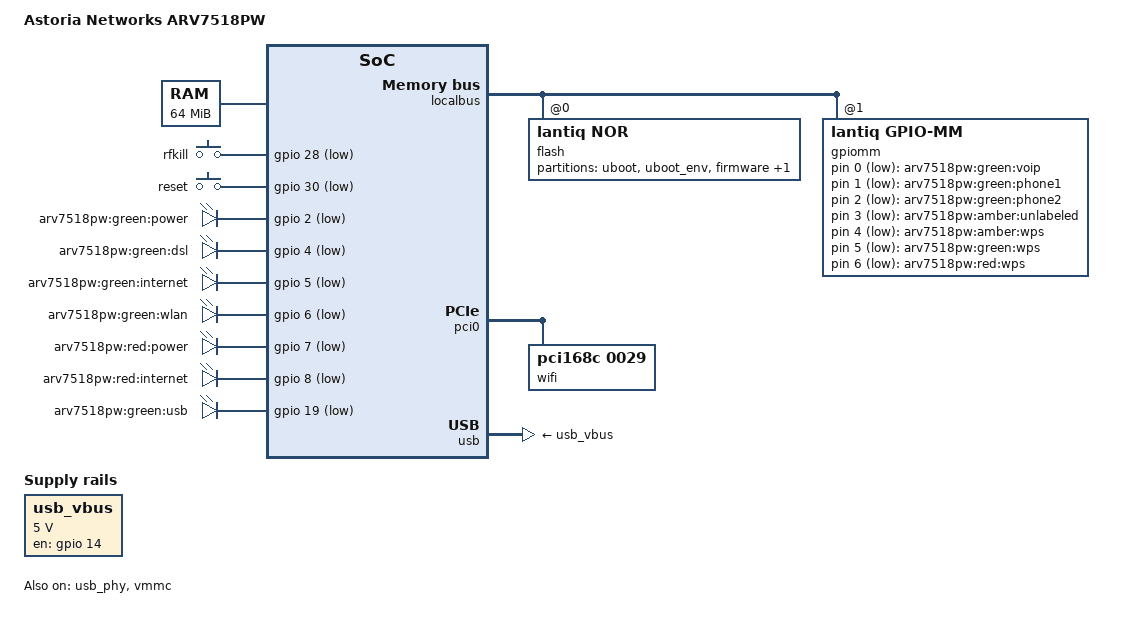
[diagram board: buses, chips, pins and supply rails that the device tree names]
/dts-v1/;

#include "danube.dtsi"

#include <dt-bindings/input/input.h>

/ {
	compatible = "arcadyan,arv7518pw", "lantiq,xway", "lantiq,danube";
	model = "Astoria Networks ARV7518PW";

	chosen {
		bootargs = "console=ttyLTQ0,115200";
	};

	aliases {
		led-boot = &power_green;
		led-failsafe = &power_red;
		led-running = &power_green;
		led-upgrade = &power_green;

		led-dsl = &dsl;
		led-internet = &online_green;
		led-usb = &led_usb;
		led-wifi = &wifi;
	};

	memory@0 {
		device_type = "memory";
		reg = <0x0 0x4000000>;
	};

	keys {
		compatible = "gpio-keys-polled";
		poll-interval = <100>;

		rfkill {
			label = "rfkill";
			gpios = <&gpio 28 GPIO_ACTIVE_LOW>;
			linux,code = <KEY_RFKILL>;
		};
		reset {
			label = "reset";
			gpios = <&gpio 30 GPIO_ACTIVE_LOW>;
			linux,code = <KEY_RESTART>;
		};
	};

	leds {
		compatible = "gpio-leds";
		power_green: power {
			label = "arv7518pw:green:power";
			gpios = <&gpio 2 GPIO_ACTIVE_LOW>;
			default-state = "keep";
		};
		dsl: dsl {
			label = "arv7518pw:green:dsl";
			gpios = <&gpio 4 GPIO_ACTIVE_LOW>;
		};
		online_green: online {
			label = "arv7518pw:green:internet";
			gpios = <&gpio 5 GPIO_ACTIVE_LOW>;
		};
		wifi: wifi {
			label = "arv7518pw:green:wlan";
			gpios = <&gpio 6 GPIO_ACTIVE_LOW>;
		};
		power_red: power2 {
			label = "arv7518pw:red:power";
			gpios = <&gpio 7 GPIO_ACTIVE_LOW>;
		};
		online2 {
			label = "arv7518pw:red:internet";
			gpios = <&gpio 8 GPIO_ACTIVE_LOW>;
		};
		led_usb: usb {
			label = "arv7518pw:green:usb";
			gpios = <&gpio 19 GPIO_ACTIVE_LOW>;
		};
		voice {
			label = "arv7518pw:green:voip";
			gpios = <&gpiomm 0 GPIO_ACTIVE_LOW>;
		};
		fxs1 {
			label = "arv7518pw:green:phone1";
			gpios = <&gpiomm 1 GPIO_ACTIVE_LOW>;
		};
		fxs2 {
			label = "arv7518pw:green:phone2";
			gpios = <&gpiomm 2 GPIO_ACTIVE_LOW>;
		};
		unlabeled {
			label = "arv7518pw:amber:unlabeled";
			gpios = <&gpiomm 3 GPIO_ACTIVE_LOW>;
		};
		wps {
			label = "arv7518pw:amber:wps";
			gpios = <&gpiomm 4 GPIO_ACTIVE_LOW>;
		};
		wps2 {
			label = "arv7518pw:green:wps";
			gpios = <&gpiomm 5 GPIO_ACTIVE_LOW>;
		};
		wps3 {
			label = "arv7518pw:red:wps";
			gpios = <&gpiomm 6 GPIO_ACTIVE_LOW>;
		};
	};

	usb_vbus: regulator-usb-vbus {
		compatible = "regulator-fixed";

		regulator-name = "USB_VBUS";

		regulator-min-microvolt = <5000000>;
		regulator-max-microvolt = <5000000>;

		gpio = <&gpio 14 GPIO_ACTIVE_HIGH>;
		enable-active-high;
	};
};

&gpio {
	pinctrl-names = "default";
	pinctrl-0 = <&state_default>;

	state_default: pinmux {
		ebu {
			lantiq,groups = "ebu cs1";
			lantiq,function = "ebu";
		};
		pci_rst {
			lantiq,pins = "io21";
			lantiq,pull = <2>;
			lantiq,output = <1>;
		};
		leds {
			lantiq,pins = "io2", "io4", "io5", "io6", "io7", "io8", "io19";
			lantiq,output = <1>;
		};
		keys {
			lantiq,pins = "io28", "io30";
			lantiq,output = <0>;
			lantiq,pull = <2>;
			lantiq,open-drain = <1>;
		};
	};
};

/*
#define SWITCH_RESET          13
*/
&gsw {
	phy-mode = "mii";
	mtd-mac-address = <&boardconfig 0x16>;
};

&localbus {
	flash@0 {
		compatible = "lantiq,nor";
		bank-width = <2>;
		reg = <0 0x0 0x2000000>;

		partitions {
			compatible = "fixed-partitions";
			#address-cells = <1>;
			#size-cells = <1>;

			partition@0 {
				label = "uboot";
				reg = <0x00000 0x10000>;
				read-only;
			};

			partition@10000 {
				label = "uboot_env";
				reg = <0x10000 0x10000>;
			};

			partition@20000 {
				label = "firmware";
				reg = <0x20000 0x7d0000>;
			};

			boardconfig: partition@7f0000 {
				label = "boardconfig";
				reg = <0x7f0000 0x10000>;
				read-only;
			};
		};
	};

	gpiomm: gpio@1 {
		compatible = "lantiq,gpio-mm";
		reg = <1 0x0 0x10 >;
		#address-cells = <1>;
		#size-cells = <1>;
		#gpio-cells = <2>;
		gpio-controller;
		lantiq,shadow = <0x0>;
	};
};

&pci0 {
	status = "okay";

	pinctrl-0 = <&pci_gnt1_pins>, <&pci_req1_pins>;
	pinctrl-names = "default";

	gpio-reset = <&gpio 21 GPIO_ACTIVE_HIGH>;
	lantiq,external-clock;
	req-mask = <0xf>;

	wifi@168c,0029 {
		compatible = "pci168c,0029";
		reg = <0x7000 0 0 0 0>;
		qca,no-eeprom; /* load from ath9k-eeprom-pci-0000:00:0e.0.bin */
		mtd-mac-address = <&boardconfig 0x16>;
		mtd-mac-address-increment = <1>;
	};
};

&usb_phy {
	status = "okay";
};

&usb {
	status = "okay";
	vbus-supply = <&usb_vbus>;
};

&vmmc {
	status = "okay";
};
